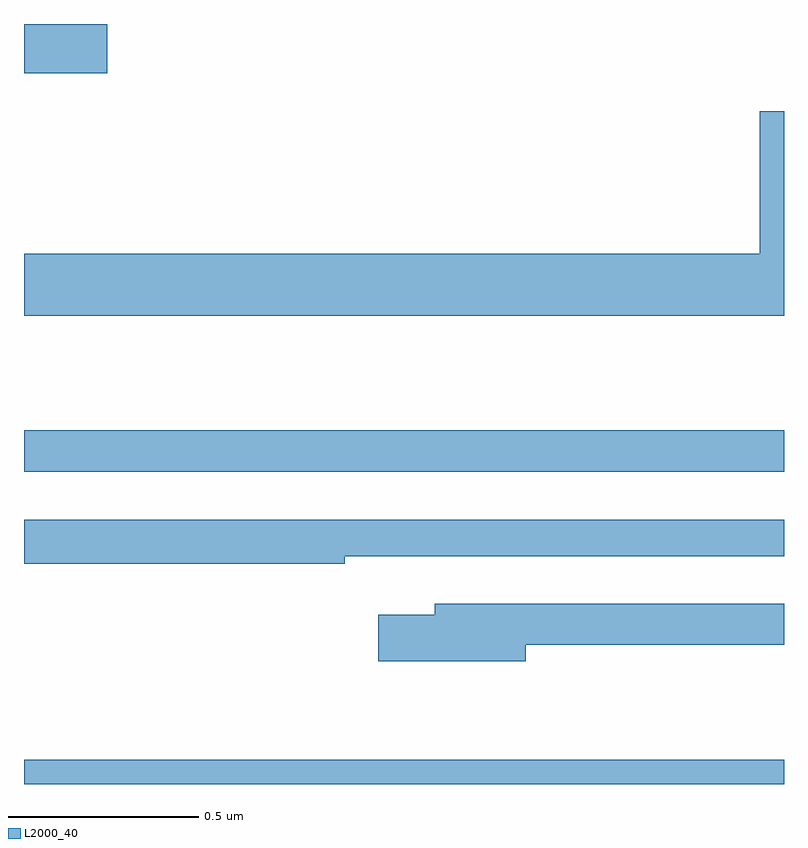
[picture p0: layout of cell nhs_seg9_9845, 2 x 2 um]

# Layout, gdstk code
import gdstk
lib = gdstk.Library(unit=1e-6, precision=1e-09)
def R(c, l, rs):  # rectangles x0, y0, x1, y1
    for r in rs: c.add(gdstk.rectangle(r[:2], r[2:], *l))
def P(c, l, *ps):  # polygons
    for p in ps: c.add(gdstk.Polygon(p, *l))
L2000_40 = (2000, 40)

nhs_seg9_9845 = lib.new_cell('nhs_seg9_9845')
R(nhs_seg9_9845, L2000_40, [(235,1216.5,237,1216.564), (235,1217.322,237,1217.431), (235,1218.37,235.219,1218.5)])
P(nhs_seg9_9845, L2000_40, [(237,1218.271),(236.936,1218.271),(236.936,1217.896),(235,1217.896),(235,1217.732),(237,1217.732)],
  [(235.844,1217.1),(237,1217.1),(237,1217.196),(235,1217.196),(235,1217.08),(235.844,1217.08)],
  [(236.32,1216.866),(237,1216.866),(237,1216.974),(236.081,1216.974),(236.081,1216.945),(235.932,1216.945),(235.932,1216.823),(236.32,1216.823)])

lib.write_gds('nhs_seg9_9845.gds')
